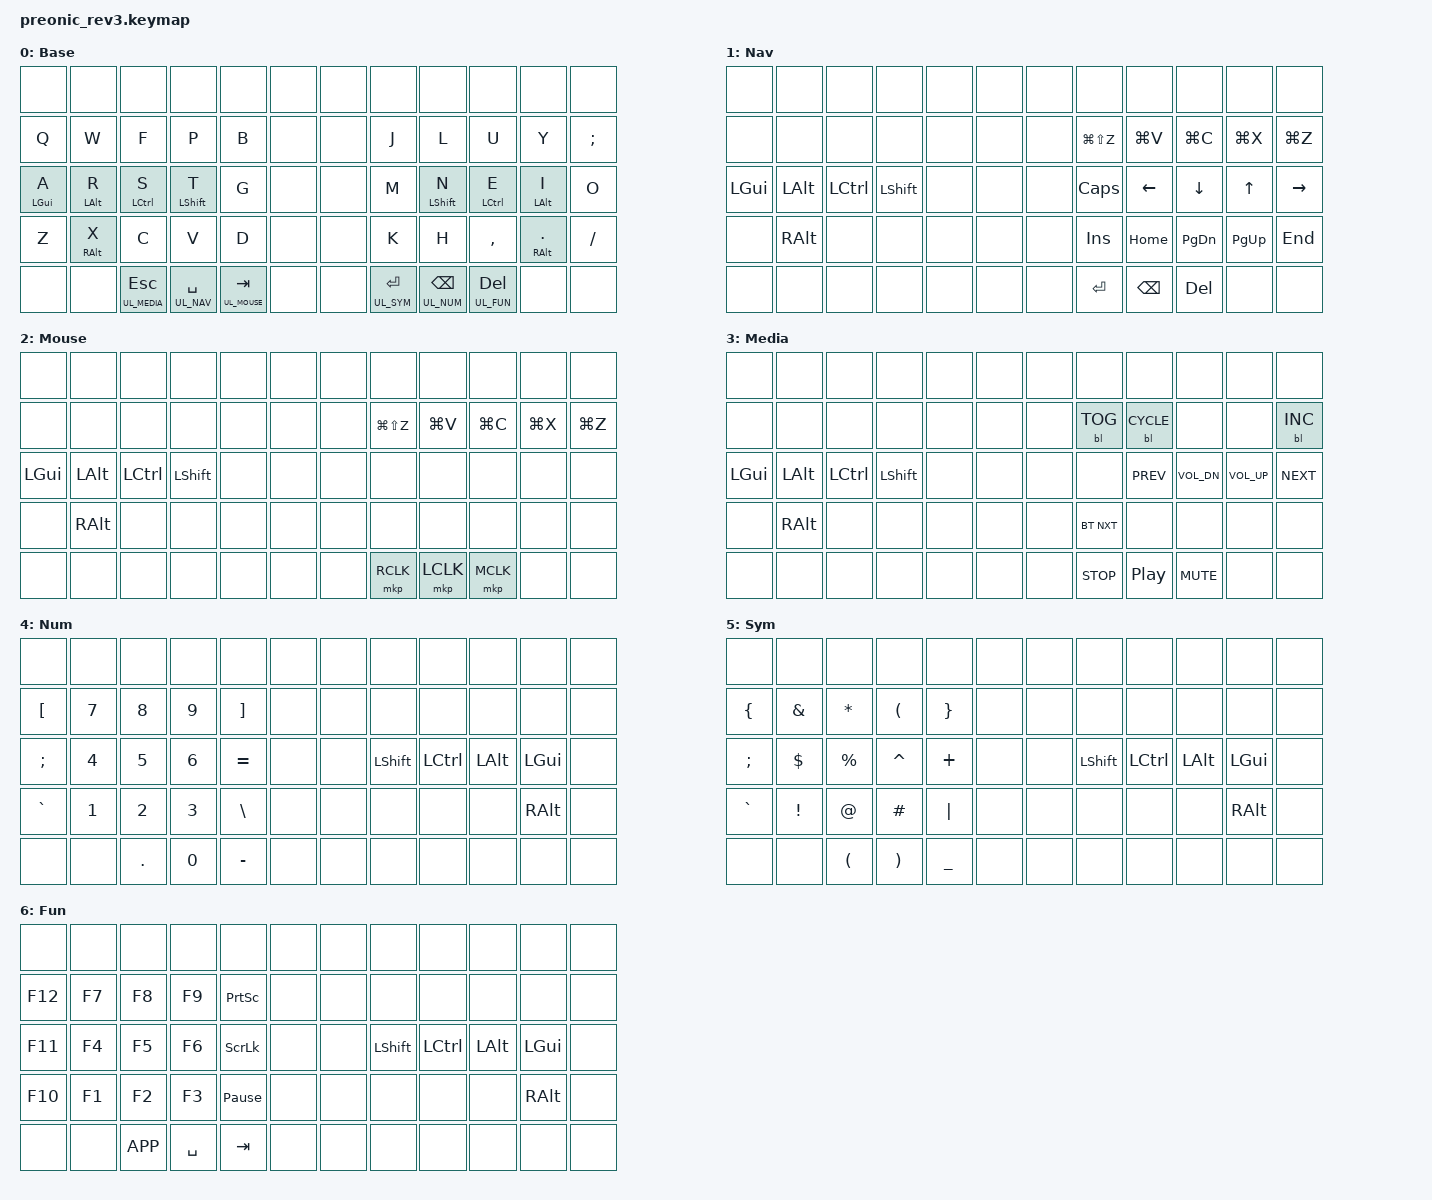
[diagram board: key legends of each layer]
/*
 * U_Copyright (c) 2022 The ZMK Contributors
 *
 * SPDX-License-Identifier: MIT
 */

#include <behaviors.dtsi>
#include <dt-bindings/zmk/keys.h>
#include <dt-bindings/zmk/bt.h>
#include <dt-bindings/zmk/mouse.h>
#include <dt-bindings/zmk/rgb.h>
#include <dt-bindings/zmk/backlight.h>

#define BASE    0

#define UL_NAV     1
#define UL_MOUSE   2
#define UL_MEDIA   3

#define UL_NUM     4
#define UL_SYM     5
#define UL_FUN     6

#define U_COPY  LG(C)
#define U_CUT   LG(X)
#define U_PASTE LG(V)
#define U_UNDO  LG(Z)
#define U_REDO  LG(LS(Z))


/ {

    chosen {
        zmk,matrix-transform = &layout_grid_transform;
    };

    behaviors {
        hm: homerow_mods {
            compatible = "zmk,behavior-hold-tap";
            #binding-cells = <2>;
            tapping-term-ms = <150>;
            quick-tap-ms = <0>;
            flavor = "tap-preferred";
            bindings = <&kp>, <&kp>;
        };

        u_lt: u_lt {
            compatible = "zmk,behavior-hold-tap";
            label = "u_lt";
            #binding-cells = <2>;
            tapping_term_ms = <200>;
            flavor = "tap-preferred";
            bindings = <&mo>, <&kp>;
        };
    };

    keymap {
        compatible = "zmk,keymap";
        base_layer {
            label ="Base";
            bindings = <
                &none           &none           &none               &none               &none               &none     &none         &none              &none               &none               &none               &none
                &kp Q           &kp W           &kp F               &kp P               &kp B               &none     &none         &kp J              &kp L               &kp U               &kp Y               &kp SEMI
                &hm LGUI A      &hm LALT R      &hm LCTRL S         &hm LSHIFT T        &kp G               &none     &none         &kp M              &hm LSHIFT N        &hm LCTRL E         &hm LALT I          &kp O
                &kp Z           &hm RALT X      &kp C               &kp V               &kp D               &none     &none         &kp K              &kp H               &kp COMMA           &hm RALT DOT        &kp SLASH
                &none           &none           &u_lt UL_MEDIA ESC  &u_lt UL_NAV SPACE  &u_lt UL_MOUSE TAB  &none     &none         &u_lt UL_SYM ENTER &u_lt UL_NUM BSPC   &u_lt UL_FUN DEL    &none               &none
                >;
        };
        nav_layer {
            label ="Nav";
            bindings = <
                &none           &none           &none               &none               &none               &none     &none         &none             &none               &none               &none               &none
                &none           &none           &none               &none               &none               &none     &none         &kp U_REDO        &kp U_PASTE         &kp U_COPY          &kp U_CUT           &kp U_UNDO
                &kp LGUI        &kp LALT        &kp LCTRL           &kp LSHIFT          &none               &none     &none         &kp CAPS          &kp LEFT            &kp DOWN            &kp UP              &kp RIGHT
                &none           &kp RALT        &none               &none               &none               &none     &none         &kp INS           &kp HOME            &kp PG_DN           &kp PG_UP           &kp END
                &none           &none           &none               &none               &none               &none     &none         &kp ENTER         &kp BSPC            &kp DEL             &none               &none
                >;
        };
        mouse_layer {
            label ="Mouse";
            bindings = <
                &none           &none           &none               &none               &none               &none     &none         &none             &none               &none               &none               &none
                &none           &none           &none               &none               &none               &none     &none         &kp U_REDO        &kp U_PASTE         &kp U_COPY          &kp U_CUT           &kp U_UNDO
                &kp LGUI        &kp LALT        &kp LCTRL           &kp LSHIFT          &none               &none     &none         &none             &none               &none               &none               &none
                &none           &kp RALT        &none               &none               &none               &none     &none         &none             &none               &none               &none               &none
                &none           &none           &none               &none               &none               &none     &none         &mkp RCLK         &mkp LCLK           &mkp MCLK           &none               &none
                >;
        };
        media_layer {
            label ="Media";
            bindings = <
                &none           &none           &none               &none               &none               &none     &none         &none             &none               &none               &none               &none
                &none           &none           &none               &none               &none               &none     &none         &bl BL_TOG        &bl BL_CYCLE        &none               &none               &bl BL_INC
                &kp LGUI        &kp LALT        &kp LCTRL           &kp LSHIFT          &none               &none     &none         &none             &kp C_PREV          &kp C_VOL_DN        &kp C_VOL_UP        &kp C_NEXT
                &none           &kp RALT        &none               &none               &none               &none     &none         &bt BT_NXT        &none               &none               &none               &none
                &none           &none           &none               &none               &none               &none     &none         &kp C_STOP        &kp C_PP            &kp C_MUTE          &none               &none
                >;
        };
        num_layer {
            label ="Num";
            bindings = <
                &none           &none           &none               &none               &none               &none     &none         &none             &none               &none               &none               &none
                &kp LBKT        &kp N7          &kp N8              &kp N9              &kp RBKT            &none     &none         &none             &none               &none               &none               &none
                &kp SEMI        &kp N4          &kp N5              &kp N6              &kp EQUAL           &none     &none         &kp LSHIFT        &kp LCTRL           &kp LALT            &kp LGUI            &none
                &kp GRAVE       &kp N1          &kp N2              &kp N3              &kp BSLH            &none     &none         &none             &none               &none               &kp RALT            &none
                &none           &none           &kp DOT             &kp N0              &kp MINUS           &none     &none         &none             &none               &none               &none               &none
                >;
        };
        sym_layer {
            label ="Sym";
            bindings = <
                &none           &none           &none               &none               &none               &none     &none         &none             &none               &none               &none               &none
                &kp LBRC        &kp AMPERSAND   &kp ASTERISK        &kp LPAR            &kp RBRC            &none     &none         &none             &none               &none               &none               &none
                &kp SEMI        &kp DOLLAR      &kp PERCENT         &kp CARET           &kp PLUS            &none     &none         &kp LSHIFT        &kp LCTRL           &kp LALT            &kp LGUI            &none
                &kp GRAVE       &kp EXCL        &kp AT              &kp HASH            &kp PIPE            &none     &none         &none             &none               &none               &kp RALT            &none
                &none           &none           &kp LPAR            &kp RPAR            &kp UNDER           &none     &none         &none             &none               &none               &none               &none
                >;
        };
        fun_layer {
            label ="Fun";
            bindings = <
                &none           &none           &none               &none               &none               &none     &none         &none             &none               &none               &none               &none
                &kp F12         &kp F7          &kp F8              &kp F9              &kp PSCRN           &none     &none         &none             &none               &none               &none               &none
                &kp F11         &kp F4          &kp F5              &kp F6              &kp SLCK            &none     &none         &kp LSHIFT        &kp LCTRL           &kp LALT            &kp LGUI            &none
                &kp F10         &kp F1          &kp F2              &kp F3              &kp PAUSE_BREAK     &none     &none         &none             &none               &none               &kp RALT            &none
                &none           &none           &kp K_APP           &kp SPACE           &kp TAB             &none     &none         &none             &none               &none               &none               &none
                >;
        };
    };
};
